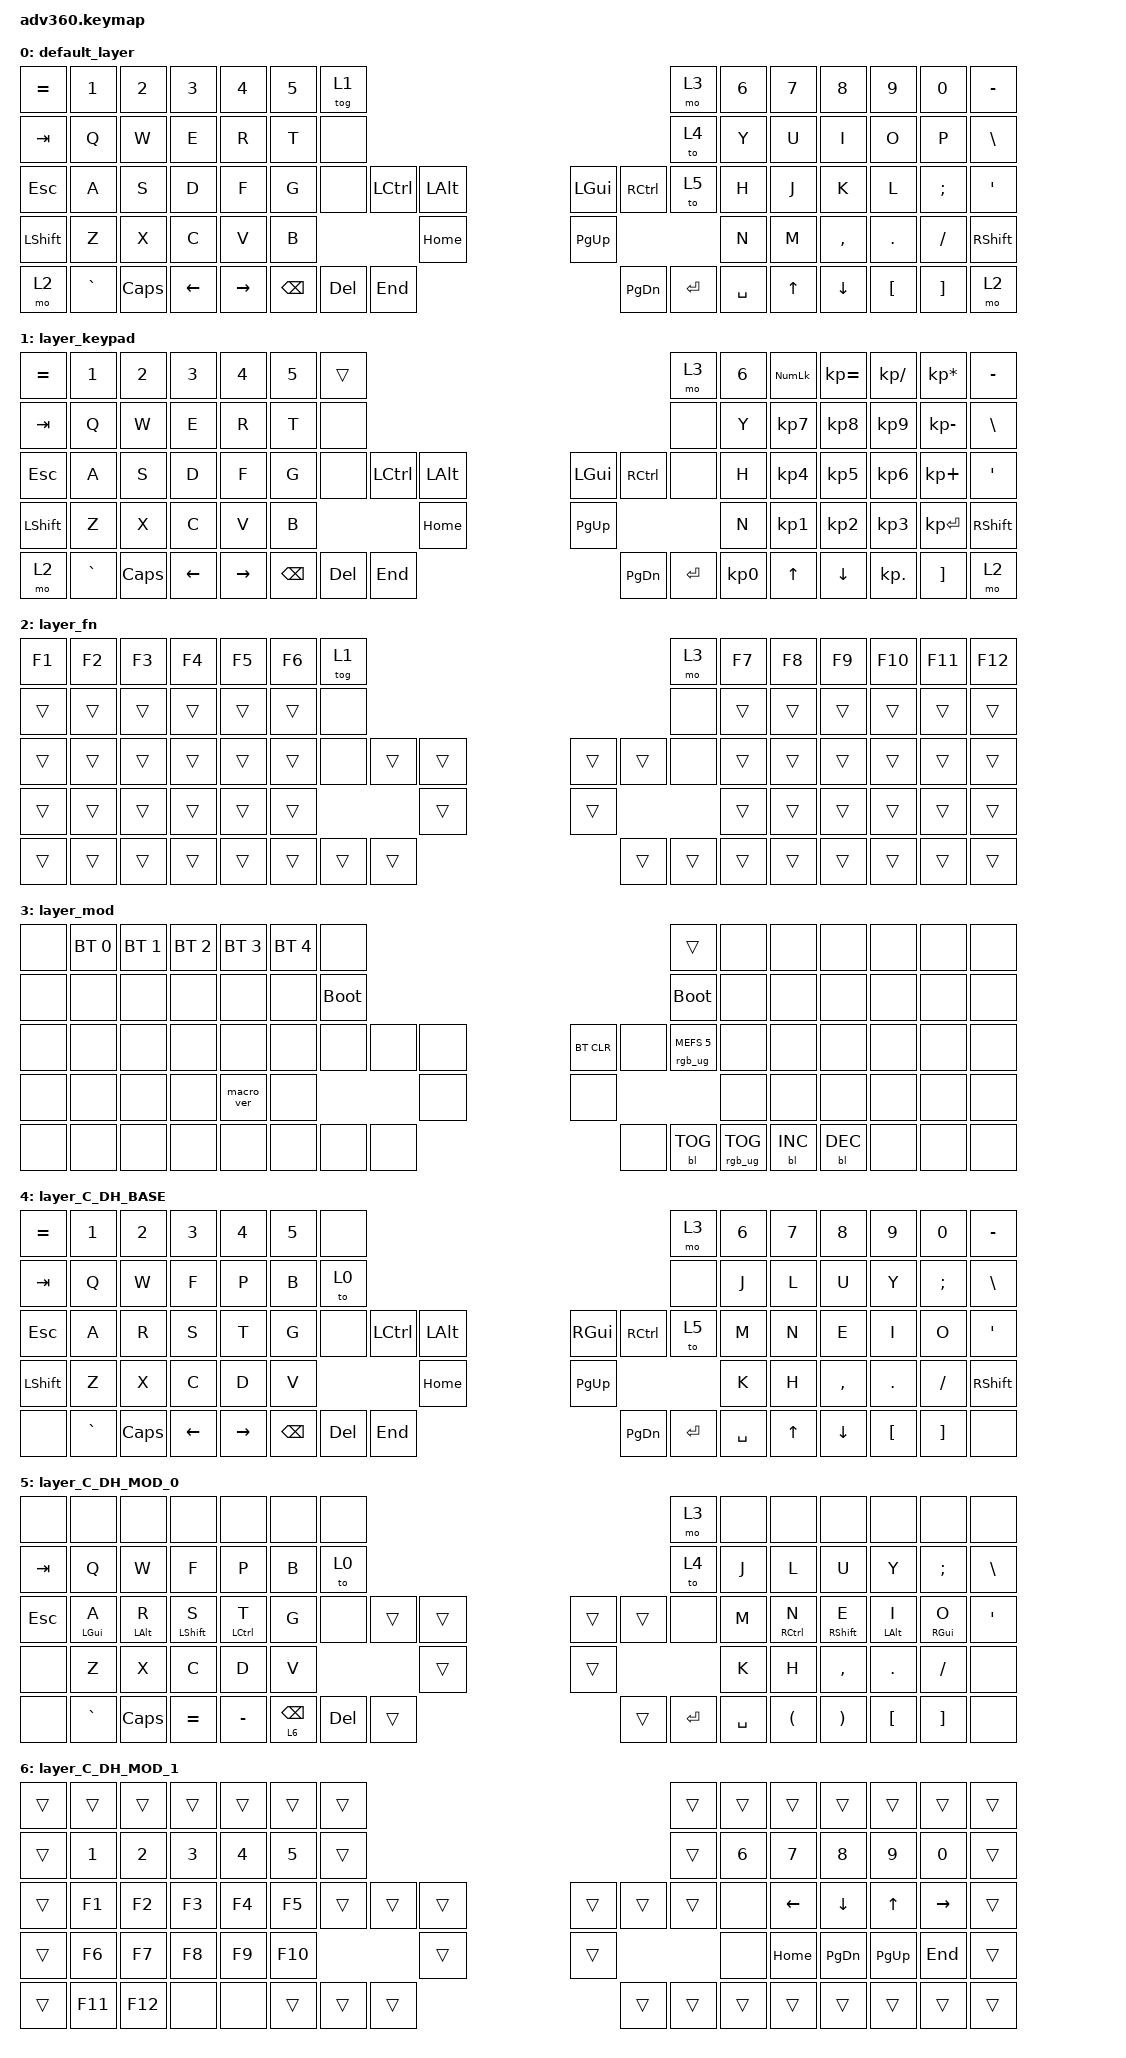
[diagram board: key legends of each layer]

/*
 * Copyright (c) 2020 The ZMK Contributors
 *
 * SPDX-License-Identifier: MIT
 */


/* THIS FILE WAS GENERATED!
 *
 * This file was generated automatically. You may or may not want to
 * edit it directly.
 */

#include <behaviors.dtsi>
#include <dt-bindings/zmk/keys.h>
#include <dt-bindings/zmk/bt.h>
#include <dt-bindings/zmk/rgb.h>
#include <dt-bindings/zmk/backlight.h>

/ {
  behaviors {
    #include "macros.dtsi"
    #include "version.dtsi"

    hm: homerow_mods {
        compatible = "zmk,behavior-hold-tap";
        label = "HOMEROW_MODS";
        #binding-cells = <2>;
        tapping-term-ms = <200>;
        quick_tap_ms = <175>;
        flavor = "tap-preferred";
        bindings = <&kp>, <&kp>;
    };
  };

    keymap {
        compatible = "zmk,keymap";


        default_layer {
            bindings = <
 &kp EQUAL     &kp N1    &kp N2    &kp N3     &kp N4  &kp N5              &tog 1                                                                 &mo 3  &kp N6  &kp N7     &kp N8    &kp N9    &kp N0  &kp MINUS
   &kp TAB      &kp Q     &kp W     &kp E      &kp R   &kp T               &none                                                                 &to 4   &kp Y   &kp U      &kp I     &kp O     &kp P   &kp BSLH
   &kp ESC      &kp A     &kp S     &kp D      &kp F   &kp G               &none  &kp LCTRL  &kp LALT                   &kp LGUI  &kp RCTRL      &to 5   &kp H   &kp J      &kp K     &kp L  &kp SEMI    &kp SQT
 &kp LSHFT      &kp Z     &kp X     &kp C      &kp V   &kp B                                 &kp HOME                  &kp PG_UP                         &kp N   &kp M  &kp COMMA   &kp DOT  &kp FSLH  &kp RSHFT
     &mo 2  &kp GRAVE  &kp CAPS  &kp LEFT  &kp RIGHT                    &kp BSPC    &kp DEL   &kp END                  &kp PG_DN  &kp ENTER  &kp SPACE          &kp UP   &kp DOWN  &kp LBKT  &kp RBKT      &mo 2
            >;
        };

        layer_keypad {
            bindings = <
 &kp EQUAL     &kp N1    &kp N2    &kp N3     &kp N4  &kp N5              &trans                                                                 &mo 3  &kp N6  &kp KP_NUM  &kp KP_EQUAL  &kp KP_DIVIDE  &kp KP_MULTIPLY  &kp MINUS
   &kp TAB      &kp Q     &kp W     &kp E      &kp R   &kp T               &none                                                                 &none   &kp Y   &kp KP_N7     &kp KP_N8      &kp KP_N9     &kp KP_MINUS   &kp BSLH
   &kp ESC      &kp A     &kp S     &kp D      &kp F   &kp G               &none  &kp LCTRL  &kp LALT                   &kp LGUI  &kp RCTRL      &none   &kp H   &kp KP_N4     &kp KP_N5      &kp KP_N6      &kp KP_PLUS    &kp SQT
 &kp LSHFT      &kp Z     &kp X     &kp C      &kp V   &kp B                                 &kp HOME                  &kp PG_UP                         &kp N   &kp KP_N1     &kp KP_N2      &kp KP_N3     &kp KP_ENTER  &kp RSHFT
     &mo 2  &kp GRAVE  &kp CAPS  &kp LEFT  &kp RIGHT                    &kp BSPC    &kp DEL   &kp END                  &kp PG_DN  &kp ENTER  &kp KP_N0              &kp UP      &kp DOWN     &kp KP_DOT         &kp RBKT      &mo 2
            >;
        };

        layer_fn {
            bindings = <
 &kp F1  &kp F2  &kp F3  &kp F4  &kp F5  &kp F6            &tog 1                                                   &mo 3  &kp F7  &kp F8  &kp F9  &kp F10  &kp F11  &kp F12
 &trans  &trans  &trans  &trans  &trans  &trans             &none                                                   &none  &trans  &trans  &trans   &trans   &trans   &trans
 &trans  &trans  &trans  &trans  &trans  &trans             &none  &trans  &trans                  &trans  &trans   &none  &trans  &trans  &trans   &trans   &trans   &trans
 &trans  &trans  &trans  &trans  &trans  &trans                            &trans                  &trans                  &trans  &trans  &trans   &trans   &trans   &trans
 &trans  &trans  &trans  &trans  &trans                    &trans  &trans  &trans                  &trans  &trans  &trans          &trans  &trans   &trans   &trans   &trans
            >;
        };

        layer_mod {
            bindings = <
  &none  &bt BT_SEL 0  &bt BT_SEL 1  &bt BT_SEL 2  &bt BT_SEL 3  &bt BT_SEL 4                  &none                                                                          &trans   &none       &none       &none   &none   &none   &none
  &none         &none         &none         &none         &none         &none            &bootloader                                                                     &bootloader   &none       &none       &none   &none   &none   &none
  &none         &none         &none         &none         &none         &none                  &none   &none   &none                  &bt BT_CLR       &none  &rgb_ug RGB_MEFS_CMD 5   &none       &none       &none   &none   &none   &none
  &none         &none         &none         &none    &macro_ver         &none                                  &none                       &none                                       &none       &none       &none   &none   &none   &none
  &none         &none         &none         &none         &none                                &none   &none   &none                       &none  &bl BL_TOG         &rgb_ug RGB_TOG          &bl BL_INC  &bl BL_DEC   &none   &none   &none
            >;
        };

        layer_C_DH_BASE {
            bindings = <
      &kp EQUAL     &kp N1    &kp N2          &kp N3           &kp N4  &kp N5               &none                                                                 &mo 3  &kp N6        &kp N7          &kp N8            &kp N9             &kp N0        &kp MINUS
        &kp TAB      &kp Q     &kp W           &kp F            &kp P   &kp B               &to 0                                                                 &none   &kp J         &kp L           &kp U             &kp Y      &kp SEMICOLON    &kp BACKSLASH
        &kp ESC      &kp A     &kp R           &kp S            &kp T   &kp G               &none  &kp LCTRL  &kp LALT                   &kp RGUI  &kp RCTRL      &to 5   &kp M         &kp N           &kp E             &kp I              &kp O   &kp APOSTROPHE
 &kp LEFT_SHIFT      &kp Z     &kp X           &kp C            &kp D   &kp V                                 &kp HOME                  &kp PG_UP                         &kp K         &kp H       &kp COMMA        &kp PERIOD          &kp SLASH  &kp RIGHT_SHIFT
          &none  &kp GRAVE  &kp CAPS  &kp LEFT_ARROW  &kp RIGHT_ARROW                    &kp BSPC    &kp DEL   &kp END                  &kp PG_DN  &kp ENTER  &kp SPACE          &kp UP_ARROW  &kp DOWN_ARROW  &kp LEFT_BRACKET  &kp RIGHT_BRACKET            &none
            >;
        };

        layer_C_DH_MOD_0 {
            bindings = <
   &none           &none           &none             &none               &none   &none                      &none                                                             &mo 3   &none                 &none                  &none             &none              &none             &none
 &kp TAB           &kp Q           &kp W             &kp F               &kp P   &kp B                      &to 0                                                             &to 4   &kp J                 &kp L                  &kp U             &kp Y      &kp SEMICOLON     &kp BACKSLASH
 &kp ESC  &mt LEFT_GUI A  &mt LEFT_ALT R  &mt LEFT_SHIFT S  &mt LEFT_CONTROL T   &kp G                      &none      &trans  &trans                  &trans     &trans      &none   &kp M           &mt RCTRL N      &mt RIGHT_SHIFT E    &mt LEFT_ALT I    &mt RIGHT_GUI O  &kp SINGLE_QUOTE
   &none           &kp Z           &kp X             &kp C               &kp D   &kp V                                         &trans                  &trans                         &kp K                 &kp H              &kp COMMA        &kp PERIOD          &kp SLASH             &none
   &none       &kp GRAVE        &kp CAPS         &kp EQUAL           &kp MINUS                    &lt 6 BACKSPACE  &kp DELETE  &trans                  &trans  &kp ENTER  &kp SPACE          &kp LEFT_PARENTHESIS  &kp RIGHT_PARENTHESIS  &kp LEFT_BRACKET  &kp RIGHT_BRACKET             &none
            >;
        };

        layer_C_DH_MOD_1 {
            bindings = <
 &trans   &trans   &trans  &trans  &trans   &trans            &trans                                                  &trans  &trans          &trans          &trans        &trans           &trans  &trans
 &trans   &kp N1   &kp N2  &kp N3  &kp N4   &kp N5            &trans                                                  &trans  &kp N6          &kp N7          &kp N8        &kp N9           &kp N0  &trans
 &trans   &kp F1   &kp F2  &kp F3  &kp F4   &kp F5            &trans  &trans  &trans                  &trans  &trans  &trans   &none  &kp LEFT_ARROW  &kp DOWN_ARROW  &kp UP_ARROW  &kp RIGHT_ARROW  &trans
 &trans   &kp F6   &kp F7  &kp F8  &kp F9  &kp F10                            &trans                  &trans                   &none        &kp HOME   &kp PAGE_DOWN   &kp PAGE_UP          &kp END  &trans
 &trans  &kp F11  &kp F12   &none   &none                     &trans  &trans  &trans                  &trans  &trans  &trans                  &trans          &trans        &trans           &trans  &trans
            >;
        };

    };
};
